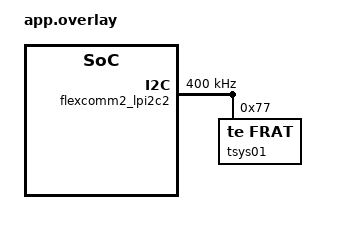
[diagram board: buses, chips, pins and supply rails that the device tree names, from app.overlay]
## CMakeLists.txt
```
cmake_minimum_required(VERSION 3.20.0)
find_package(Zephyr REQUIRED HINTS $ENV{ZEPHYR_BASE})
project(i2c-ex)

target_sources(app PRIVATE src/main.c)
```

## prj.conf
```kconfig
CONFIG_I2C=y
CONFIG_HEAP_MEM_POOL_SIZE=4096
CONFIG_DYNAMIC_THREAD=y
CONFIG_DYNAMIC_THREAD_ALLOC=y
```

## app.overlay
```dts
&flexcomm2_lpi2c2 {
    status = "okay";
    clock-frequency = <I2C_BITRATE_FAST>;

    tsys01: tsys01@77 {
        compatible = "te,frat";
        reg = <0x77>;
        status = "okay";
    };
};
```

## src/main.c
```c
#include <stdio.h>
#include <math.h>
#include <stdbool.h>
#include <zephyr/kernel.h>
#include <zephyr/device.h>
#include <zephyr/devicetree.h>
#include <zephyr/drivers/i2c.h>

#define STACKSIZE 1024

static const uint8_t TMP_SENSOR_ADDR = 0x77;
static const uint8_t TMP_SENSOR_RESET = 0x1E;
static const uint8_t TMP_SENSOR_ADC_READ = 0x00;
static const uint8_t TMP_SENSOR_ADC_TEMP_CONVERT = 0x48;

static const uint8_t K0_VAR = 0xAA;
static const uint8_t K1_VAR = 0xA8;
static const uint8_t K2_VAR = 0xA6;
static const uint8_t K3_VAR = 0xA4;
static const uint8_t K4_VAR = 0xA2;

// grabbing the i2c device from the device tree
static struct i2c_dt_spec temp_sensor = I2C_DT_SPEC_GET(DT_NODELABEL(tsys01));

// pass a message to throw an error and put the device into a loop, so nothing else is executed
static void throw_device_error(const char* message) {
	printk("%s\n", message);
	while(1) { k_msleep(1000); }
}

// Writes the reset code to the temperature sensor, and returns the status
static void init_device() {
	int code = i2c_write_dt(&temp_sensor, &TMP_SENSOR_RESET, 1);
	if (code) {
		throw_device_error("failed to init device");
	}
}

// gets a single calibration value based upon the passed in argument (where to read from)
// @param - the cmd specifying where to grab data from the PROM on the sensor
// @return - the 16 bit k value returned from the PROM
static uint16_t get_single_K_value(uint8_t cmd) {
	uint8_t buf[2];
	if (i2c_write_read_dt(&temp_sensor, &cmd, 1, buf, sizeof(buf))) {
		printk("%X\n", cmd);
		throw_device_error("error reading the k value");
	}
	uint16_t ret = ((uint16_t)buf[0] << 8) | buf[1];
	return ret;
}

// Grabs the calibration data from the temp sensors eprom and returns int
// @return - a dynamic array containing converstion data, upon failure returns NULL
static uint16_t* get_calibration_data() {
	uint16_t* k_values = k_malloc(sizeof(uint16_t) * 5);
	k_msleep(10); // sleep before beginning to read values
	k_values[0] = get_single_K_value(K0_VAR);
	k_values[1] = get_single_K_value(K1_VAR);
	k_values[2] = get_single_K_value(K2_VAR);
	k_values[3] = get_single_K_value(K3_VAR);
	k_values[4] = get_single_K_value(K4_VAR);
	return k_values;
}

// reads the temperature results from the sensor and returns the adc value
// @return - a 32 bit number (representing a 24 bit number) of the adc value
static uint32_t read_temp_result() {
	if (i2c_write_dt(&temp_sensor, &TMP_SENSOR_ADC_TEMP_CONVERT, 1)) {
		throw_device_error("failed to set sensor to convert mode");
	}
	k_msleep(10);
	uint32_t adc_result;
	uint8_t buf[3];
	if (i2c_write_read_dt(&temp_sensor, &TMP_SENSOR_ADC_READ, 1, buf, sizeof(buf))) {
		throw_device_error("failed to read from sensor");
	}
	adc_result = ((uint32_t)buf[0] << 16) | ((uint32_t)buf[1] << 8) | buf[2];
	return adc_result;
}

// calculate the temperature based upon the params calibration data and adc_val passed to i2c_write_read_dt
// return the temperature in celcius
// @param calibration_data - a array of length 5 containting the calibration data from the sensor
// @param adc_val - the adc_val passed from the sensor
// @return - the temperature in celcius
static double calculate_temperature(uint16_t* calibration_data, uint32_t adc_val) {
	double temp_val = adc_val / 256.0;
	double temperature = (-2.0) * calibration_data[4] * 1e-21 * pow(temp_val, 4) +
			     (4.0) * calibration_data[3] * 1e-16 * pow(temp_val, 3) +
			     (-2.0) * calibration_data[2] * 1e-11 * pow(temp_val, 2) +
			     (1.0) * calibration_data[1] * 1e-6 * temp_val +
			     (-1.5) * calibration_data[0] * 1e-2;
	return temperature;
}

// calculate the temperature based upon the sensor data and prints the value to the console once per
// second
void temperature_thread(void* arg1, void* arg2, void* arg3) {
	while (1) {
		// get all the calibration data
		uint16_t* calibration_data = get_calibration_data();

		// get the adc value from the sensor
		uint32_t adc_val = read_temp_result();

		// use the calibration data and the raw adc value to get temp in C
		double temperature = calculate_temperature(calibration_data, adc_val);

		printk("Current temp: %d\n", (int)temperature);

		k_free(calibration_data);
		k_msleep(1000);
	}

}

int main(void) {

	// setup the device
	init_device();

	// thread creation
	struct k_thread temp_thread;
	k_thread_stack_t* temp_thread_stack = k_thread_stack_alloc(STACKSIZE, 0);
	if (temp_thread_stack == NULL) {
		throw_device_error("failed to obtain memory for the thread stack");
	}
	k_tid_t thread_id = k_thread_create(
		&temp_thread,
		temp_thread_stack,
		STACKSIZE,
		temperature_thread,
		NULL,
		NULL,
		NULL,
		7,
		0,
		K_NO_WAIT
	);

	while (1) {
		k_msleep(1000);
	}
	return 0;
}
```
